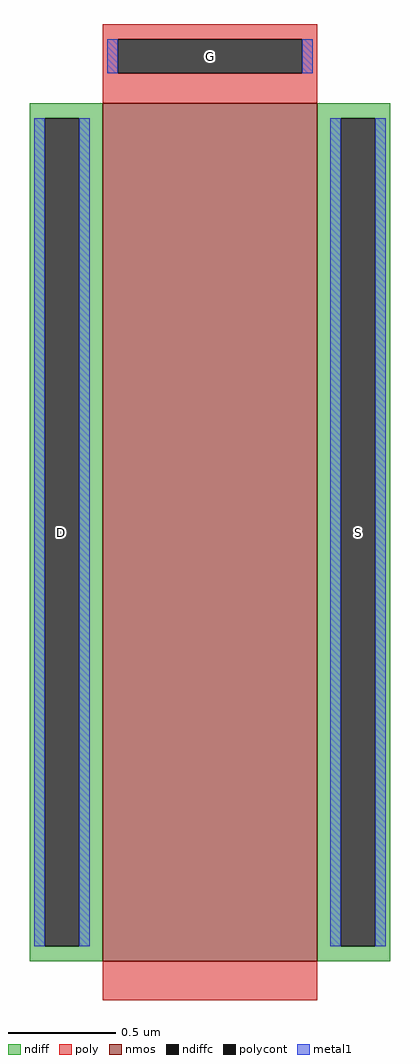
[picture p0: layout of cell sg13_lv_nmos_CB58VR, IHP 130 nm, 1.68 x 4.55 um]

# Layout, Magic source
magic
tech ihp-sg13g2
magscale 1 2
<< nmos >>
rect -100 -419 100 381
<< ndiff >>
rect -168 367 -100 381
rect -168 -405 -154 367
rect -122 -405 -100 367
rect -168 -419 -100 -405
rect 100 367 168 381
rect 100 -405 122 367
rect 154 -405 168 367
rect 100 -419 168 -405
<< ndiffc >>
rect -154 -405 -122 367
rect 122 -405 154 367
<< poly >>
rect -100 441 100 455
rect -100 409 -86 441
rect 86 409 100 441
rect -100 381 100 409
rect -100 -455 100 -419
<< polycont >>
rect -86 409 86 441
<< metal1 >>
rect -96 409 -86 441
rect 86 409 96 441
rect -164 -405 -154 367
rect -122 -405 -112 367
rect 112 -405 122 367
rect 154 -405 164 367
<< labels >>
rlabel ndiffc -138 -19 -138 -19 0 D
port 1 nsew
rlabel ndiffc 138 -19 138 -19 0 S
port 2 nsew
rlabel polycont 0 425 0 425 0 G
port 3 nsew
<< properties >>
string gencell sg13_lv_nmos
string library sg13g2
string parameters w 4 l 1 m 1 nf 1 diffcov 100 polycov 100 guard 0 glc 1 grc 1 gtc 1 gbc 1 tbcov 100 rlcov 100 topc 1 botc 0 poverlap 0 doverlap 1 lmin 0.13 wmin 0.15 class mosfet compatible {sg13_lv_nmos sg13_hv_nmos} full_metal 1 conn_gates 0 gate_ring 0 doports 1 viasrc 0 viadrn 0 viagate 0 ccols 1 viagb 0 viagr 0 viagl 0 viagt 0
<< end >>
